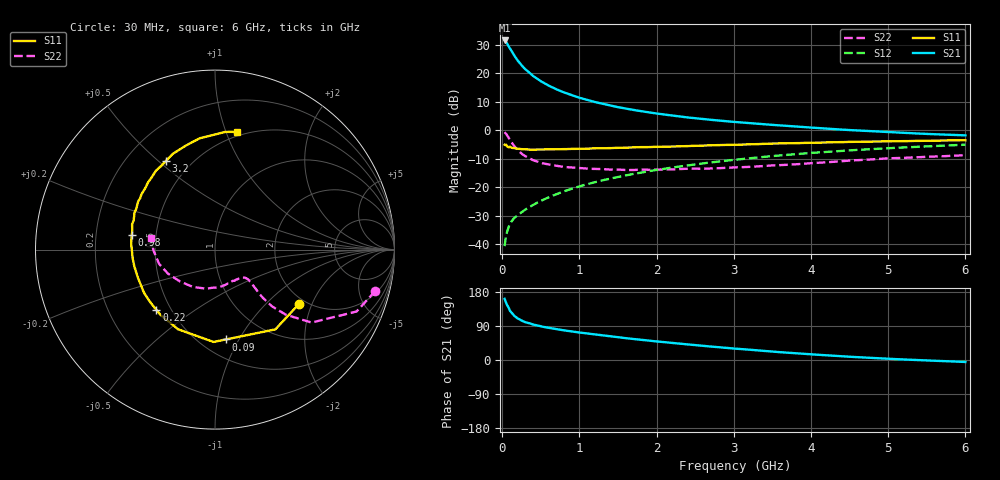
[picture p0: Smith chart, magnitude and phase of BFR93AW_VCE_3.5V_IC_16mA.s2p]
! Infineon Technologies  Discrete & RF Semiconductors
! BFR93AW
! VCE =  3.5 V,  IC =  16 mA
! Common Emitter S-Parameters:  Nov 2015
# GHz  S  MA  R  50
!  f  S11  S21  S12  S22
! GHz  MAG  ANG  MAG  ANG  MAG  ANG  MAG  ANG
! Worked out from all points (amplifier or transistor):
!   206 points, 30 MHz to 6 GHz, reference 50 ohm
!   highest |S21| = 31.4 dB at 30 MHz (marker M1)
!   |S21| within 3 dB of that: start of sweep to 104.6 MHz
!   unconditionally stable (mu >= 1): 592.5 MHz to 2.247 GHz
!   at 200 MHz: K = 0.64, MSG = 27.1 dB, |S12| = -29.7 dB
!   at 1.56 GHz: K = 1.05, MAG = 10.6 dB, |S12| = -16.1 dB
!   at 6 GHz: K = 0.91, MSG = 1.6 dB, |S12| = -5.1 dB
!   S11 on the Smith chart (normalised r, x): 30 MHz: 1.82, -1.61; 90 MHz: 0.66, -0.88; 220 MHz: 0.42, -0.36; 980 MHz: 0.36, +0.08; 3.2 GHz: 0.37, +0.53; 6 GHz: 0.46, +1.09
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0.03  0.5567 -33.3  37.33 161.4  0.0093 76.4  0.9223 -14.5
0.05  0.5573 -52.9  35.12 149.4  0.0146 71.9  0.861 -23.6
0.09  0.5042 -83.1  28.34 134.2  0.0214 61.9  0.7082 -33.8
0.1  0.5146 -90.9  27.05 129.3  0.0232 60.3  0.6745 -37.1
0.15  0.4892 -114.9  20.73 117.2  0.0285 56.2  0.5352 -42.6
0.2  0.4738 -129.8  16.58 109.4  0.0327 56.7  0.4476 -44.9
0.22  0.4683 -134.2  15.4 107.5  0.0342 56.9  0.4232 -45.0
0.26  0.4641 -142.6  13.25 103.2  0.0374 57.6  0.3791 -45.2
0.3  0.4629 -148.8  11.61 99.7  0.0408 59.2  0.3491 -44.9
0.4  0.4571 -160.1  8.876 93.5  0.0492 61.9  0.2976 -43.3
0.5  0.4589 -168.0  7.201 88.7  0.0578 64.3  0.2672 -42.5
0.6  0.4615 -173.9  6.038 84.9  0.0666 65.8  0.2504 -41.9
0.7  0.4627 -179.1  5.218 81.4  0.0755 67.1  0.2388 -42.3
0.98  0.4702 169.8  3.78 73.1  0.1019 68.4  0.2186 -45.2
1.04  0.4721 167.9  3.574 71.5  0.1076 68.4  0.215 -46.7
1.5  0.4932 155.5  2.531 60.0  0.1514 67.6  0.2047 -58.0
2.02  0.5129 142.7  1.943 48.5  0.203 64.5  0.2047 -73.5
3.1  0.5591 120.8  1.364 28.8  0.3117 55.5  0.2248 -106.3
3.2  0.5644 119.0  1.331 27.2  0.3218 54.4  0.2277 -110.0
4.1  0.6061 103.9  1.087 13.7  0.4082 45.0  0.2688 -141.3
5.1  0.6409 90.2  0.914 2.3  0.4916 33.9  0.3245 -168.5
6  0.667 79.6  0.812 -5.2  0.5571 24.3  0.3649 169.6
